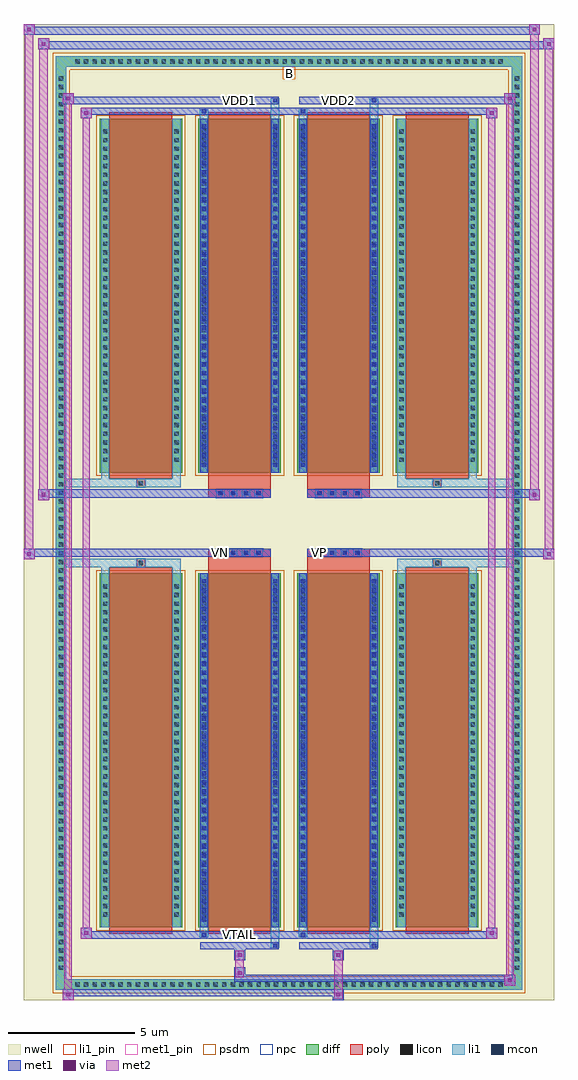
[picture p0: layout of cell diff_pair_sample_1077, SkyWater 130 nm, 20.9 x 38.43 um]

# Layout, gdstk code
import gdstk
lib = gdstk.Library(unit=1e-6, precision=5e-09)
def R(c, l, rs):  # rectangles x0, y0, x1, y1
    for r in rs: c.add(gdstk.rectangle(r[:2], r[2:], *l))
def A(c, l, x, y, w, h, nx, ny, dx, dy):  # array of equal rectangles
    R(c, l, [(x+i*dx, y+j*dy, x+i*dx+w, y+j*dy+h) for i in range(nx) for j in range(ny)])
def P(c, l, *ps):  # polygons
    for p in ps: c.add(gdstk.Polygon(p, *l))
nwell = (64, 20)
diff = (65, 20)
poly = (66, 20)
licon = (66, 44)
li1_pin = (67, 16)
li1 = (67, 20)
mcon = (67, 44)
met1_pin = (68, 16)
met1 = (68, 20)
via = (68, 44)
met2 = (69, 20)
psdm = (94, 20)
npc = (95, 20)

diff_pair_sample_1077 = lib.new_cell('diff_pair_sample_1077')
R(diff_pair_sample_1077, nwell, [(-10.45,-18.78,10.45,19.65), (-7.77,-16.97,-0.01,-0.805), (0.01,-16.97,7.77,-0.805), (-7.77,0.805,-0.01,16.97), (0.01,0.805,7.77,16.97)])
A(diff_pair_sample_1077, diff, -8.535, -18.38, 0.41, 0.41, 50, 2, 0.34, 36.35)
A(diff_pair_sample_1077, diff, -9.18, -17.715, 0.41, 0.41, 1, 104, 0, 0.34)
A(diff_pair_sample_1077, diff, 8.77, -17.715, 0.41, 0.41, 1, 104, 0, 0.34)
A(diff_pair_sample_1077, diff, -7.46, -15.925, 3.25, 13.94, 4, 2, 3.89, 17.91)
R(diff_pair_sample_1077, diff, [(-8.535,-18.38,8.535,-17.97), (-9.18,-17.715,-8.77,17.715), (8.77,-17.715,9.18,17.715), (-8.535,17.97,8.535,18.38)])
P(diff_pair_sample_1077, diff, [(9.18,18.38),(-9.18,18.38),(-9.18,-17.97),(-8.77,-17.97),(-8.77,17.97),(8.77,17.97),(8.77,-17.97),(-8.77,-17.97),(-9.18,-17.97),(-9.18,-18.38),(9.18,-18.38)])
A(diff_pair_sample_1077, poly, -7.07, -16.175, 2.47, 14.44, 4, 2, 3.89, 17.91)
A(diff_pair_sample_1077, poly, -2.86, -1.335, 0.33, 0.33, 4, 2, 0.5, 2.34)
A(diff_pair_sample_1077, poly, 1.03, -1.335, 0.33, 0.33, 4, 2, 0.5, 2.34)
R(diff_pair_sample_1077, poly, [(-6,-1.735,-5.67,-1.405), (-6,-1.735,-5.67,-1.405), (-3.18,-1.735,-0.71,-1.335), (0.71,-1.735,3.18,-1.335), (5.67,-1.735,6,-1.405), (5.67,-1.735,6,-1.405), (-3.18,-1.335,-0.71,-1.005), (0.71,-1.335,3.18,-1.005), (-3.18,1.005,-0.71,1.335), (0.71,1.005,3.18,1.335), (-3.18,1.335,-0.71,1.735), (0.71,1.335,3.18,1.735), (-6,1.405,-5.67,1.735), (-6,1.405,-5.67,1.735), (5.67,1.405,6,1.735), (5.67,1.405,6,1.735)])
A(diff_pair_sample_1077, licon, -8.415, -18.26, 0.17, 0.17, 50, 2, 0.34, 36.35)
A(diff_pair_sample_1077, licon, -9.06, -17.595, 0.17, 0.17, 1, 104, 0, 0.34)
A(diff_pair_sample_1077, licon, 8.89, -17.595, 0.17, 0.17, 1, 104, 0, 0.34)
A(diff_pair_sample_1077, licon, -7.32, -15.5, 0.17, 0.17, 1, 39, 0, 0.34)
A(diff_pair_sample_1077, licon, -4.52, -15.5, 0.17, 0.17, 1, 39, 0, 0.34)
A(diff_pair_sample_1077, licon, -3.43, -15.5, 0.17, 0.17, 1, 39, 0, 0.34)
A(diff_pair_sample_1077, licon, -0.63, -15.5, 0.17, 0.17, 1, 39, 0, 0.34)
A(diff_pair_sample_1077, licon, 0.46, -15.5, 0.17, 0.17, 1, 39, 0, 0.34)
A(diff_pair_sample_1077, licon, 3.26, -15.5, 0.17, 0.17, 1, 39, 0, 0.34)
A(diff_pair_sample_1077, licon, 4.35, -15.5, 0.17, 0.17, 1, 39, 0, 0.34)
A(diff_pair_sample_1077, licon, 7.15, -15.5, 0.17, 0.17, 1, 39, 0, 0.34)
A(diff_pair_sample_1077, licon, -2.78, -1.255, 0.17, 0.17, 4, 2, 0.5, 2.34)
A(diff_pair_sample_1077, licon, 1.11, -1.255, 0.17, 0.17, 4, 2, 0.5, 2.34)
A(diff_pair_sample_1077, licon, -7.32, 2.41, 0.17, 0.17, 1, 39, 0, 0.34)
A(diff_pair_sample_1077, licon, -4.52, 2.41, 0.17, 0.17, 1, 39, 0, 0.34)
A(diff_pair_sample_1077, licon, -3.43, 2.41, 0.17, 0.17, 1, 39, 0, 0.34)
A(diff_pair_sample_1077, licon, -0.63, 2.41, 0.17, 0.17, 1, 39, 0, 0.34)
A(diff_pair_sample_1077, licon, 0.46, 2.41, 0.17, 0.17, 1, 39, 0, 0.34)
A(diff_pair_sample_1077, licon, 3.26, 2.41, 0.17, 0.17, 1, 39, 0, 0.34)
A(diff_pair_sample_1077, licon, 4.35, 2.41, 0.17, 0.17, 1, 39, 0, 0.34)
A(diff_pair_sample_1077, licon, 7.15, 2.41, 0.17, 0.17, 1, 39, 0, 0.34)
R(diff_pair_sample_1077, licon, [(-5.92,-1.655,-5.75,-1.485), (5.75,-1.655,5.92,-1.485), (-5.92,1.485,-5.75,1.655), (5.75,1.485,5.92,1.655)])
R(diff_pair_sample_1077, li1_pin, [(-0.25,17.47,0.25,17.97)])
A(diff_pair_sample_1077, li1, -8.495, -18.34, 0.33, 0.33, 50, 2, 0.34, 36.35)
A(diff_pair_sample_1077, li1, -9.14, -17.675, 0.33, 0.33, 1, 104, 0, 0.34)
A(diff_pair_sample_1077, li1, 8.81, -17.675, 0.33, 0.33, 1, 104, 0, 0.34)
A(diff_pair_sample_1077, li1, -3.43, -15.7, 0.17, 0.17, 1, 38, 0, 0.36)
A(diff_pair_sample_1077, li1, -0.63, -15.7, 0.17, 0.17, 1, 38, 0, 0.36)
A(diff_pair_sample_1077, li1, 0.46, -15.7, 0.17, 0.17, 1, 38, 0, 0.36)
A(diff_pair_sample_1077, li1, 3.26, -15.7, 0.17, 0.17, 1, 38, 0, 0.36)
A(diff_pair_sample_1077, li1, -7.4, -15.58, 0.33, 0.33, 1, 39, 0, 0.34)
A(diff_pair_sample_1077, li1, -4.6, -15.58, 0.33, 0.33, 1, 39, 0, 0.34)
A(diff_pair_sample_1077, li1, -3.51, -15.58, 0.33, 0.33, 1, 39, 0, 0.34)
A(diff_pair_sample_1077, li1, -0.71, -15.58, 0.33, 0.33, 1, 39, 0, 0.34)
A(diff_pair_sample_1077, li1, 0.38, -15.58, 0.33, 0.33, 1, 39, 0, 0.34)
A(diff_pair_sample_1077, li1, 3.18, -15.58, 0.33, 0.33, 1, 39, 0, 0.34)
A(diff_pair_sample_1077, li1, 4.27, -15.58, 0.33, 0.33, 1, 39, 0, 0.34)
A(diff_pair_sample_1077, li1, 7.07, -15.58, 0.33, 0.33, 1, 39, 0, 0.34)
A(diff_pair_sample_1077, li1, -2.86, -1.335, 0.33, 0.33, 4, 2, 0.5, 2.34)
A(diff_pair_sample_1077, li1, 1.03, -1.335, 0.33, 0.33, 4, 2, 0.5, 2.34)
A(diff_pair_sample_1077, li1, -3.43, 2.21, 0.17, 0.17, 1, 38, 0, 0.36)
A(diff_pair_sample_1077, li1, -0.63, 2.21, 0.17, 0.17, 1, 38, 0, 0.36)
A(diff_pair_sample_1077, li1, 0.46, 2.21, 0.17, 0.17, 1, 38, 0, 0.36)
A(diff_pair_sample_1077, li1, 3.26, 2.21, 0.17, 0.17, 1, 38, 0, 0.36)
A(diff_pair_sample_1077, li1, -7.4, 2.33, 0.33, 0.33, 1, 39, 0, 0.34)
A(diff_pair_sample_1077, li1, -4.6, 2.33, 0.33, 0.33, 1, 39, 0, 0.34)
A(diff_pair_sample_1077, li1, -3.51, 2.33, 0.33, 0.33, 1, 39, 0, 0.34)
A(diff_pair_sample_1077, li1, -0.71, 2.33, 0.33, 0.33, 1, 39, 0, 0.34)
A(diff_pair_sample_1077, li1, 0.38, 2.33, 0.33, 0.33, 1, 39, 0, 0.34)
A(diff_pair_sample_1077, li1, 3.18, 2.33, 0.33, 0.33, 1, 39, 0, 0.34)
A(diff_pair_sample_1077, li1, 4.27, 2.33, 0.33, 0.33, 1, 39, 0, 0.34)
A(diff_pair_sample_1077, li1, 7.07, 2.33, 0.33, 0.33, 1, 39, 0, 0.34)
R(diff_pair_sample_1077, li1, [(-9.18,-18.38,-8.77,-17.97), (-9.18,-18.38,-8.77,-17.97), (-8.77,-18.38,8.77,-17.97), (8.77,-18.38,9.18,-17.97), (8.77,-18.38,9.18,-17.97), (-9.18,-17.97,-8.77,17.97), (8.77,-17.97,9.18,17.97), (-0.71,-16.73,-0.38,-15.925), (-0.63,-16.73,-0.46,-16.56), (3.18,-16.73,3.51,-15.925), (3.26,-16.73,3.43,-16.56), (-3.51,-16.3,-3.18,-15.925), (-3.43,-16.3,-3.26,-16.13), (0.38,-16.3,0.71,-15.925), (0.46,-16.3,0.63,-16.13), (-7.4,-15.925,-7.07,-1.985), (-4.6,-15.925,-4.27,-1.985), (-3.51,-15.925,-3.18,-1.985), (-0.71,-15.925,-0.38,-1.985), (0.38,-15.925,0.71,-1.985), (3.18,-15.925,3.51,-1.985), (4.27,-15.925,4.6,-1.985), (7.07,-15.925,7.4,-1.985), (-3.43,-15.7,-3.26,-2.21), (-0.63,-15.7,-0.46,-2.21), (0.46,-15.7,0.63,-2.21), (3.26,-15.7,3.43,-2.21), (-7.4,-1.985,-7.07,-1.405), (-4.6,-1.985,-4.27,-1.405), (4.27,-1.985,4.6,-1.405), (7.07,-1.985,7.4,-1.405), (-9.18,-1.735,-6,-1.405), (-7.4,-1.735,-6,-1.405), (-6,-1.735,-5.67,-1.405), (-5.67,-1.735,-4.27,-1.405), (4.27,-1.735,5.67,-1.405), (5.67,-1.735,6,-1.405), (5.67,-1.735,9.18,-1.405), (6,-1.735,7.4,-1.405), (-9.18,1.405,-6,1.735), (-7.4,1.405,-6,1.735), (-7.4,1.405,-7.07,1.985), (-6,1.405,-5.67,1.735), (-5.67,1.405,-4.27,1.735), (-4.6,1.405,-4.27,1.985), (4.27,1.405,5.67,1.735), (4.27,1.405,4.6,1.985), (5.67,1.405,6,1.735), (5.67,1.405,9.18,1.735), (6,1.405,7.4,1.735), (7.07,1.405,7.4,1.985), (-7.4,1.985,-7.07,15.925), (-4.6,1.985,-4.27,15.925), (-3.51,1.985,-3.18,15.925), (-0.71,1.985,-0.38,15.925), (0.38,1.985,0.71,15.925), (3.18,1.985,3.51,15.925), (4.27,1.985,4.6,15.925), (7.07,1.985,7.4,15.925), (-3.43,2.21,-3.26,15.7), (-0.63,2.21,-0.46,15.7), (0.46,2.21,0.63,15.7), (3.26,2.21,3.43,15.7), (-3.51,15.925,-3.18,16.3), (-0.71,15.925,-0.38,16.73), (0.38,15.925,0.71,16.3), (3.18,15.925,3.51,16.73), (-3.43,16.13,-3.26,16.3), (0.46,16.13,0.63,16.3), (-0.63,16.56,-0.46,16.73), (3.26,16.56,3.43,16.73), (-9.18,17.97,-8.77,18.38), (-9.18,17.97,-8.77,18.38), (-8.77,17.97,8.77,18.38), (8.77,17.97,9.18,18.38), (8.77,17.97,9.18,18.38)])
A(diff_pair_sample_1077, mcon, -3.43, -15.7, 0.17, 0.17, 1, 38, 0, 0.36)
A(diff_pair_sample_1077, mcon, -0.63, -15.7, 0.17, 0.17, 1, 38, 0, 0.36)
A(diff_pair_sample_1077, mcon, 0.46, -15.7, 0.17, 0.17, 1, 38, 0, 0.36)
A(diff_pair_sample_1077, mcon, 3.26, -15.7, 0.17, 0.17, 1, 38, 0, 0.36)
A(diff_pair_sample_1077, mcon, -2.78, -1.255, 0.17, 0.17, 4, 2, 0.5, 2.34)
A(diff_pair_sample_1077, mcon, 1.11, -1.255, 0.17, 0.17, 4, 2, 0.5, 2.34)
A(diff_pair_sample_1077, mcon, -3.43, 2.21, 0.17, 0.17, 1, 38, 0, 0.36)
A(diff_pair_sample_1077, mcon, -0.63, 2.21, 0.17, 0.17, 1, 38, 0, 0.36)
A(diff_pair_sample_1077, mcon, 0.46, 2.21, 0.17, 0.17, 1, 38, 0, 0.36)
A(diff_pair_sample_1077, mcon, 3.26, 2.21, 0.17, 0.17, 1, 38, 0, 0.36)
R(diff_pair_sample_1077, mcon, [(-0.63,-16.73,-0.46,-16.56), (3.26,-16.73,3.43,-16.56), (-3.43,-16.3,-3.26,-16.13), (0.46,-16.3,0.63,-16.13), (-3.43,16.13,-3.26,16.3), (0.46,16.13,0.63,16.3), (-0.63,16.56,-0.46,16.73), (3.26,16.56,3.43,16.73)])
R(diff_pair_sample_1077, met1_pin, [(-2.08,-16.34,-1.81,-16.07), (-2.83,-1.295,-2.56,-1.025), (1.06,-1.295,1.33,-1.025), (-2.08,16.52,-1.81,16.79), (1.81,16.52,2.08,16.79)])
A(diff_pair_sample_1077, met1, -3.49, -15.76, 0.29, 0.29, 1, 38, 0, 0.36)
A(diff_pair_sample_1077, met1, -0.69, -15.76, 0.29, 0.29, 1, 38, 0, 0.36)
A(diff_pair_sample_1077, met1, 0.4, -15.76, 0.29, 0.29, 1, 38, 0, 0.36)
A(diff_pair_sample_1077, met1, 3.2, -15.76, 0.29, 0.29, 1, 38, 0, 0.36)
A(diff_pair_sample_1077, met1, -2.84, -1.315, 0.29, 0.29, 4, 2, 0.5, 2.34)
A(diff_pair_sample_1077, met1, 1.05, -1.315, 0.29, 0.29, 4, 2, 0.5, 2.34)
A(diff_pair_sample_1077, met1, -3.49, 2.15, 0.29, 0.29, 1, 38, 0, 0.36)
A(diff_pair_sample_1077, met1, -0.69, 2.15, 0.29, 0.29, 1, 38, 0, 0.36)
A(diff_pair_sample_1077, met1, 0.4, 2.15, 0.29, 0.29, 1, 38, 0, 0.36)
A(diff_pair_sample_1077, met1, 3.2, 2.15, 0.29, 0.29, 1, 38, 0, 0.36)
R(diff_pair_sample_1077, met1, [(-8.91,-18.78,-8.48,-18.35), (1.73,-18.78,2.16,-18.35), (-8.91,-18.64,2.16,-18.35), (8.48,-18.21,8.91,-17.78), (-2.16,-18.07,8.91,-17.78), (-2.16,-17.93,-1.73,-17.5), (-2.16,-17.22,-1.73,-16.79), (1.73,-17.22,2.16,-16.79), (-3.49,-16.79,-0.4,-16.5), (-0.69,-16.79,-0.4,-16.5), (0.4,-16.79,3.49,-16.5), (3.2,-16.79,3.49,-16.5), (-8.2,-16.36,-7.77,-15.93), (-8.2,-16.36,-3.49,-16.07), (-3.49,-16.36,-3.2,-16.07), (-3.49,-16.36,-0.4,-16.07), (-0.4,-16.36,0.4,-16.07), (0.4,-16.36,0.69,-16.07), (0.4,-16.36,3.49,-16.07), (3.49,-16.36,8.2,-16.07), (7.77,-16.36,8.2,-15.93), (-3.49,-15.925,-3.2,-1.985), (-0.69,-15.925,-0.4,-1.985), (0.4,-15.925,0.69,-1.985), (3.2,-15.925,3.49,-1.985), (-10.45,-1.435,-10.02,-1.005), (10.02,-1.435,10.45,-1.005), (-10.45,-1.335,-0.71,-1.005), (-3.18,-1.335,-0.71,-1.005), (0.71,-1.335,3.18,-1.005), (0.71,-1.335,10.45,-1.005), (-9.88,0.905,-9.45,1.335), (9.45,0.905,9.88,1.335), (-9.88,1.005,-3.18,1.335), (-3.18,1.005,-0.71,1.335), (0.71,1.005,3.18,1.335), (3.18,1.005,9.88,1.335), (-3.49,1.985,-3.2,15.925), (-0.69,1.985,-0.4,15.925), (0.4,1.985,0.69,15.925), (3.2,1.985,3.49,15.925), (-8.2,15.93,-7.77,16.36), (7.77,15.93,8.2,16.36), (-8.2,16.07,-3.49,16.36), (-3.49,16.07,-3.2,16.36), (-3.49,16.07,-0.4,16.36), (-0.4,16.07,0.4,16.36), (0.4,16.07,0.69,16.36), (0.4,16.07,3.49,16.36), (3.49,16.07,8.2,16.36), (-8.91,16.5,-8.48,16.93), (-8.91,16.5,-3.49,16.79), (-3.49,16.5,-0.4,16.79), (-0.69,16.5,-0.4,16.79), (0.4,16.5,3.49,16.79), (3.2,16.5,3.49,16.79), (3.49,16.5,8.91,16.79), (8.48,16.5,8.91,16.93), (-9.88,18.65,-9.45,19.08), (-9.88,18.65,-7.77,18.98), (-7.77,18.65,7.77,18.98), (7.77,18.65,10.45,18.98), (10.02,18.65,10.45,19.08), (-10.45,19.22,-10.02,19.65), (-10.45,19.22,-7.77,19.55), (-7.77,19.22,7.77,19.55), (7.77,19.22,9.88,19.55), (9.45,19.22,9.88,19.65)])
R(diff_pair_sample_1077, via, [(-8.77,-18.64,-8.62,-18.49), (1.87,-18.64,2.02,-18.49), (8.62,-18.07,8.77,-17.92), (-2.02,-17.79,-1.87,-17.64), (-2.02,-17.08,-1.87,-16.93), (1.87,-17.08,2.02,-16.93), (-8.06,-16.22,-7.91,-16.07), (7.91,-16.22,8.06,-16.07), (-10.31,-1.295,-10.16,-1.145), (10.16,-1.295,10.31,-1.145), (-9.74,1.045,-9.59,1.195), (9.59,1.045,9.74,1.195), (-8.06,16.07,-7.91,16.22), (7.91,16.07,8.06,16.22), (-8.77,16.64,-8.62,16.79), (8.62,16.64,8.77,16.79), (-9.74,18.79,-9.59,18.94), (10.16,18.79,10.31,18.94), (-10.31,19.36,-10.16,19.51), (9.59,19.36,9.74,19.51)])
R(diff_pair_sample_1077, met2, [(-8.91,-18.78,-8.48,-18.35), (-8.84,-18.78,-8.55,16.93), (-8.55,-18.78,-8.48,-18.35), (-8.86,-18.73,-8.53,-18.4), (1.78,-18.73,2.11,-18.4), (1.78,-18.4,2.11,-17.17), (8.48,-18.21,8.91,-17.78), (8.55,-18.21,8.84,16.93), (8.84,-18.21,8.91,-17.78), (8.53,-18.16,8.86,-17.83), (-2.11,-17.88,-1.78,-17.55), (-2.11,-17.55,-1.78,-17.17), (-2.11,-17.17,-1.78,-16.84), (1.78,-17.17,2.11,-16.84), (-8.2,-16.36,-7.77,-15.93), (-8.13,-16.36,-7.84,16.36), (-7.84,-16.36,-7.77,-15.93), (7.77,-16.36,8.2,-15.93), (7.84,-16.36,8.13,16.36), (8.13,-16.36,8.2,-15.93), (-8.15,-16.31,-7.82,-15.98), (7.82,-16.31,8.15,-15.98), (-10.45,-1.435,-10.02,-1.005), (-10.4,-1.435,-10.07,19.65), (-10.07,-1.435,-10.02,-1.005), (10.02,-1.435,10.45,-1.005), (10.07,-1.435,10.4,19.08), (10.4,-1.435,10.45,-1.005), (-10.4,-1.385,-10.07,-1.055), (10.07,-1.385,10.4,-1.055), (-9.88,0.905,-9.45,1.335), (-9.83,0.905,-9.5,19.08), (-9.5,0.905,-9.45,1.335), (9.45,0.905,9.88,1.335), (9.5,0.905,9.83,19.65), (9.83,0.905,9.88,1.335), (-9.83,0.955,-9.5,1.285), (9.5,0.955,9.83,1.285), (-8.2,15.93,-7.77,16.36), (-7.84,15.93,-7.77,16.36), (7.77,15.93,8.2,16.36), (8.13,15.93,8.2,16.36), (-8.15,15.98,-7.82,16.31), (7.82,15.98,8.15,16.31), (-8.91,16.5,-8.48,16.93), (-8.55,16.5,-8.48,16.93), (8.48,16.5,8.91,16.93), (8.84,16.5,8.91,16.93), (-8.86,16.55,-8.53,16.88), (8.53,16.55,8.86,16.88), (-9.88,18.65,-9.45,19.08), (-9.5,18.65,-9.45,19.08), (10.02,18.65,10.45,19.08), (10.4,18.65,10.45,19.08), (-9.83,18.7,-9.5,19.03), (10.07,18.7,10.4,19.03), (-10.45,19.22,-10.02,19.65), (-10.07,19.22,-10.02,19.65), (9.45,19.22,9.88,19.65), (9.83,19.22,9.88,19.65), (-10.4,19.27,-10.07,19.6), (9.5,19.27,9.83,19.6)])
A(diff_pair_sample_1077, psdm, -7.59, -16.055, 3.51, 14.2, 4, 2, 3.89, 17.91)
P(diff_pair_sample_1077, psdm, [(9.31,18.51),(-9.31,18.51),(-9.31,-17.84),(-8.64,-17.84),(-8.64,17.84),(8.64,17.84),(8.64,-17.84),(-8.64,-17.84),(-9.31,-17.84),(-9.31,-18.51),(9.31,-18.51)])
A(diff_pair_sample_1077, npc, -2.88, -1.355, 0.37, 0.37, 4, 2, 0.5, 2.34)
A(diff_pair_sample_1077, npc, 1.01, -1.355, 0.37, 0.37, 4, 2, 0.5, 2.34)
R(diff_pair_sample_1077, npc, [(-6.02,-1.755,-5.65,-1.385), (5.65,-1.755,6.02,-1.385), (-2.88,-1.355,-2.01,-0.985), (-2.88,-1.355,-2.01,-0.985), (-2.38,-1.355,-1.51,-0.985), (-2.38,-1.355,-1.51,-0.985), (-1.88,-1.355,-1.01,-0.985), (-1.88,-1.355,-1.01,-0.985), (1.01,-1.355,1.88,-0.985), (1.01,-1.355,1.88,-0.985), (1.51,-1.355,2.38,-0.985), (1.51,-1.355,2.38,-0.985), (2.01,-1.355,2.88,-0.985), (2.01,-1.355,2.88,-0.985), (-2.88,0.985,-2.01,1.355), (-2.88,0.985,-2.01,1.355), (-2.38,0.985,-1.51,1.355), (-2.38,0.985,-1.51,1.355), (-1.88,0.985,-1.01,1.355), (-1.88,0.985,-1.01,1.355), (1.01,0.985,1.88,1.355), (1.01,0.985,1.88,1.355), (1.51,0.985,2.38,1.355), (1.51,0.985,2.38,1.355), (2.01,0.985,2.88,1.355), (2.01,0.985,2.88,1.355), (-6.02,1.385,-5.65,1.755), (5.65,1.385,6.02,1.755)])
diff_pair_sample_1077.add(gdstk.Label('VTAIL', (-1.945,-16.205), layer=68, texttype=5))
diff_pair_sample_1077.add(gdstk.Label('VN', (-2.695,-1.16), layer=68, texttype=5))
diff_pair_sample_1077.add(gdstk.Label('VP', (1.195,-1.16), layer=68, texttype=5))
diff_pair_sample_1077.add(gdstk.Label('B', (0,17.72), layer=67, texttype=5))
diff_pair_sample_1077.add(gdstk.Label('VDD2', (1.945,16.655), layer=68, texttype=5))
diff_pair_sample_1077.add(gdstk.Label('VDD1', (-1.945,16.655), layer=68, texttype=5))

lib.write_gds('diff_pair_sample_1077.gds')
